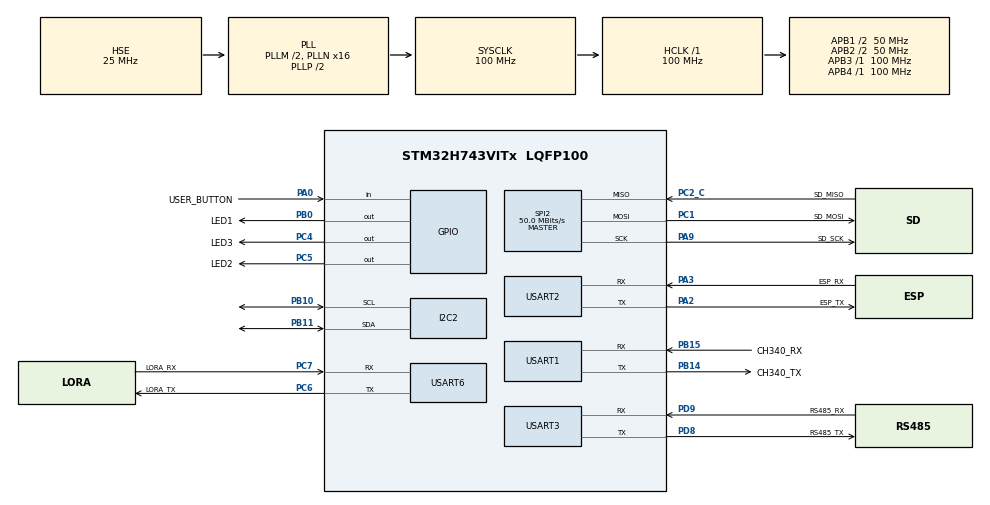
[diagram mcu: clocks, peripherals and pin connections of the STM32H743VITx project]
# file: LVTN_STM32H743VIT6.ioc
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I2C2.Timing=0x00C0EAFF
Mcu.Family=STM32H7
Mcu.Name=STM32H743VITx
Mcu.Package=LQFP100
NVIC.I2C2_EV_IRQn=true\:0\:0\:false\:false\:true\:true\:true\:true
NVIC.PriorityGroup=NVIC_PRIORITYGROUP_4
PA0.GPIO_Label=USER_BUTTON
PA0.Signal=GPIO_Input
PA13\ (JTMS/SWDIO).Mode=Serial_Wire
PA13\ (JTMS/SWDIO).Signal=DEBUG_JTMS-SWDIO
PA14\ (JTCK/SWCLK).Mode=Serial_Wire
PA14\ (JTCK/SWCLK).Signal=DEBUG_JTCK-SWCLK
PA2.GPIO_Label=ESP_TX
PA2.Mode=Asynchronous
PA2.Signal=USART2_TX
PA3.GPIO_Label=ESP_RX
PA3.Mode=Asynchronous
PA3.Signal=USART2_RX
PA9.GPIO_Label=SD_SCK
PA9.Mode=Full_Duplex_Master
PA9.Signal=SPI2_SCK
PB0.GPIO_Label=LED1
PB0.Signal=GPIO_Output
PB10.Mode=I2C
PB10.Signal=I2C2_SCL
PB11.Mode=I2C
PB11.Signal=I2C2_SDA
PB14.GPIO_Label=CH340_TX
PB14.Mode=Asynchronous
PB14.Signal=USART1_TX
PB15.GPIO_Label=CH340_RX
PB15.Mode=Asynchronous
PB15.Signal=USART1_RX
PC1.GPIO_Label=SD_MOSI
PC1.Mode=Full_Duplex_Master
PC1.Signal=SPI2_MOSI
PC14-OSC32_IN\ (OSC32_IN).Mode=LSE-External-Oscillator
PC14-OSC32_IN\ (OSC32_IN).Signal=RCC_OSC32_IN
PC15-OSC32_OUT\ (OSC32_OUT).Mode=LSE-External-Oscillator
PC15-OSC32_OUT\ (OSC32_OUT).Signal=RCC_OSC32_OUT
PC2_C.GPIO_Label=SD_MISO
PC2_C.Mode=Full_Duplex_Master
PC2_C.Signal=SPI2_MISO
PC4.GPIO_Label=LED3
PC4.Signal=GPIO_Output
PC5.GPIO_Label=LED2
PC5.Signal=GPIO_Output
PC6.GPIO_Label=LORA_TX
PC6.Mode=Asynchronous
PC6.Signal=USART6_TX
PC7.GPIO_Label=LORA_RX
PC7.Mode=Asynchronous
PC7.Signal=USART6_RX
PD8.GPIO_Label=RS485_TX
PD8.Mode=Asynchronous
PD8.Signal=USART3_TX
PD9.GPIO_Label=RS485_RX
PD9.Mode=Asynchronous
PD9.Signal=USART3_RX
PH0-OSC_IN\ (PH0).Mode=HSE-External-Oscillator
PH0-OSC_IN\ (PH0).Signal=RCC_OSC_IN
PH1-OSC_OUT\ (PH1).Mode=HSE-External-Oscillator
PH1-OSC_OUT\ (PH1).Signal=RCC_OSC_OUT
ProjectManager.HeapSize=0x200
ProjectManager.StackSize=0x400
ProjectManager.TargetToolchain=MDK-ARM V5.32
RCC.ADCFreq_Value=50390625
RCC.APB1Freq_Value=50000000
RCC.APB2Freq_Value=50000000
RCC.APB3Freq_Value=100000000
RCC.APB4Freq_Value=100000000
RCC.CortexFreq_Value=100000000
RCC.D2PPRE1=RCC_APB1_DIV2
RCC.D2PPRE2=RCC_APB2_DIV2
RCC.DIVM1=2
RCC.DIVN1=16
RCC.HCLKFreq_Value=100000000
RCC.PLLFRACN=0
RCC.PLLSourceVirtual=RCC_PLLSOURCE_HSE
RCC.SYSCLKFreq_VALUE=100000000
RCC.SYSCLKSource=RCC_SYSCLKSOURCE_PLLCLK
RCC.USBFreq_Value=100000000
SPI2.CalculateBaudRate=50.0 MBits/s
SPI2.Direction=SPI_DIRECTION_2LINES
SPI2.Mode=SPI_MODE_MASTER
SPI2.VirtualType=VM_MASTER
USART1.VirtualMode-Asynchronous=VM_ASYNC
USART2.VirtualMode-Asynchronous=VM_ASYNC
USART3.VirtualMode-Asynchronous=VM_ASYNC
USART6.VirtualMode=VM_ASYNC
VP_CRC_VS_CRC.Mode=CRC_Activate
board=custom

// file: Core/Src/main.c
/* USER CODE BEGIN Header */
/**
  ******************************************************************************
  * @file           : main.c
  * @brief          : Main program body
  ******************************************************************************
  * @attention
  *
  * Copyright (c) 2023 STMicroelectronics.
  * All rights reserved.
  *
  * This software is licensed under terms that can be found in the LICENSE file
  * in the root directory of this software component.
  * If no LICENSE file comes with this software, it is provided AS-IS.
  *
  ******************************************************************************
  */
/* USER CODE END Header */
#include "main.h"

/* USER CODE BEGIN Includes */
#include "ina3221.h"
#include "LM75B.h"
#include "ads1115.h"

/* USER CODE END Includes */

/* USER CODE BEGIN PTD */
	typedef struct
	{
		float Ch1Cur;
		float Ch1Vol;
		float Ch2Cur;
		float Ch2Vol;
		float Ch3Cur;
		float Ch3Vol;
	}INA_DATA;
	INA_DATA INAD;
/* USER CODE END PTD */

CRC_HandleTypeDef hcrc;

I2C_HandleTypeDef hi2c2;

SPI_HandleTypeDef hspi2;

UART_HandleTypeDef huart1;
UART_HandleTypeDef huart2;
UART_HandleTypeDef huart3;
UART_HandleTypeDef huart6;

/* USER CODE BEGIN PV */
//Connect ADDR pin to GND and I2C slave adress will be 0X48 .
float voltage[4];
float temperature;
float buf = 0.3;
/* USER CODE END PV */

void SystemClock_Config(void);
static void MPU_Config(void);
static void MX_GPIO_Init(void);
static void MX_CRC_Init(void);
static void MX_I2C2_Init(void);
static void MX_SPI2_Init(void);
static void MX_USART1_UART_Init(void);
static void MX_USART2_UART_Init(void);
static void MX_USART3_UART_Init(void);
static void MX_USART6_UART_Init(void);

/* USER CODE BEGIN 0 */

void BlinkLed()
{
	for(int i=0; i<=5;i++)
		{
			HAL_GPIO_TogglePin(GPIOB, LED1_Pin);
			HAL_Delay(100);
		}
}

/* USER CODE END 0 */

int main(void)
{

  /* MPU Configuration--------------------------------------------------------*/
  MPU_Config();

  /* MCU Configuration--------------------------------------------------------*/

  /* Reset of all peripherals, Initializes the Flash interface and the Systick. */
  HAL_Init();

  /* USER CODE BEGIN Init */

		//INA3221_INIT
		INA3221_INIT(INA3221_MODE_SHUNT_BUS_SINGLE,	0.1f, 0.1f, 0.1f, 4.0f,5.0f,INA3221_1_1_MS,
													INA3221_1_1_MS,INA3221_AVERAGE_64);
		//LM75B_INIT
		LM75B_INIT();

  /* USER CODE END Init */

  /* Configure the system clock */
  SystemClock_Config();

  /* Initialize all configured peripherals */
  MX_GPIO_Init();
  MX_CRC_Init();
  MX_I2C2_Init();
  MX_SPI2_Init();
  MX_USART1_UART_Init();
  MX_USART2_UART_Init();
  MX_USART3_UART_Init();
  MX_USART6_UART_Init();
  /* USER CODE BEGIN 2 */

	//LCD wellcome
//	CLCD_I2C_SetCursor(&LCD1, 0, 1);
//	CLCD_I2C_WriteString(&LCD1,"DH Bach Khoa");
//	CLCD_I2C_SetCursor(&LCD1, 0, 2);
//	CLCD_I2C_WriteString(&LCD1,"TP HCM");

  /* USER CODE END 2 */

  /* Infinite loop */
  /* USER CODE BEGIN WHILE */
  while (1)
 {

		voltage[0] =ADS1115_RVAL(0);
		voltage[1] =ADS1115_RVAL(1);
		voltage[2] =ADS1115_RVAL(2);
		voltage[3] =ADS1115_RVAL(3)-0.37;

		INAD.Ch1Cur  =INA3221ConfGetCurrent(1)*1000;
		INAD.Ch1Vol  =INA3221ConfGetBusVoltage(1);

		INAD.Ch2Cur  =- INA3221ConfGetCurrent(2)*1000;
		INAD.Ch2Vol  =INA3221ConfGetBusVoltage(2);

		INAD.Ch3Cur  =INA3221ConfGetCurrent(3)*1000;
		INAD.Ch3Vol  =INA3221ConfGetBusVoltage(3);

		BlinkLed();

		temperature = LM75B_READ();

		BlinkLed();
		HAL_Delay(100);

    /* USER CODE END WHILE */

  }
}

void SystemClock_Config(void)
{
  RCC_OscInitTypeDef RCC_OscInitStruct = {0};
  RCC_ClkInitTypeDef RCC_ClkInitStruct = {0};

  /** Supply configuration update enable
  */
  HAL_PWREx_ConfigSupply(PWR_LDO_SUPPLY);

  /** Configure the main internal regulator output voltage
  */
  __HAL_PWR_VOLTAGESCALING_CONFIG(PWR_REGULATOR_VOLTAGE_SCALE3);

  while(!__HAL_PWR_GET_FLAG(PWR_FLAG_VOSRDY)) {}

  /** Initializes the RCC Oscillators according to the specified parameters
  * in the RCC_OscInitTypeDef structure.
  */
  RCC_OscInitStruct.OscillatorType = RCC_OSCILLATORTYPE_HSE;
  RCC_OscInitStruct.HSEState = RCC_HSE_ON;
  RCC_OscInitStruct.PLL.PLLState = RCC_PLL_ON;
  RCC_OscInitStruct.PLL.PLLSource = RCC_PLLSOURCE_HSE;
  RCC_OscInitStruct.PLL.PLLM = 2;
  RCC_OscInitStruct.PLL.PLLN = 16;
  RCC_OscInitStruct.PLL.PLLP = 2;
  RCC_OscInitStruct.PLL.PLLQ = 2;
  RCC_OscInitStruct.PLL.PLLR = 2;
  RCC_OscInitStruct.PLL.PLLRGE = RCC_PLL1VCIRANGE_3;
  RCC_OscInitStruct.PLL.PLLVCOSEL = RCC_PLL1VCOWIDE;
  RCC_OscInitStruct.PLL.PLLFRACN = 0;
  if (HAL_RCC_OscConfig(&RCC_OscInitStruct) != HAL_OK)
  {
    Error_Handler();
  }

  /** Initializes the CPU, AHB and APB buses clocks
  */
  RCC_ClkInitStruct.ClockType = RCC_CLOCKTYPE_HCLK|RCC_CLOCKTYPE_SYSCLK
                              |RCC_CLOCKTYPE_PCLK1|RCC_CLOCKTYPE_PCLK2
                              |RCC_CLOCKTYPE_D3PCLK1|RCC_CLOCKTYPE_D1PCLK1;
  RCC_ClkInitStruct.SYSCLKSource = RCC_SYSCLKSOURCE_PLLCLK;
  RCC_ClkInitStruct.SYSCLKDivider = RCC_SYSCLK_DIV1;
  RCC_ClkInitStruct.AHBCLKDivider = RCC_HCLK_DIV1;
  RCC_ClkInitStruct.APB3CLKDivider = RCC_APB3_DIV1;
  RCC_ClkInitStruct.APB1CLKDivider = RCC_APB1_DIV2;
  RCC_ClkInitStruct.APB2CLKDivider = RCC_APB2_DIV2;
  RCC_ClkInitStruct.APB4CLKDivider = RCC_APB4_DIV1;

  if (HAL_RCC_ClockConfig(&RCC_ClkInitStruct, FLASH_LATENCY_2) != HAL_OK)
  {
    Error_Handler();
  }
}

static void MX_CRC_Init(void)
{

  hcrc.Instance = CRC;
  hcrc.Init.DefaultPolynomialUse = DEFAULT_POLYNOMIAL_ENABLE;
  hcrc.Init.DefaultInitValueUse = DEFAULT_INIT_VALUE_ENABLE;
  hcrc.Init.InputDataInversionMode = CRC_INPUTDATA_INVERSION_NONE;
  hcrc.Init.OutputDataInversionMode = CRC_OUTPUTDATA_INVERSION_DISABLE;
  hcrc.InputDataFormat = CRC_INPUTDATA_FORMAT_BYTES;
  if (HAL_CRC_Init(&hcrc) != HAL_OK)
  {
    Error_Handler();
  }

}

static void MX_I2C2_Init(void)
{

  hi2c2.Instance = I2C2;
  hi2c2.Init.Timing = 0x00C0EAFF;
  hi2c2.Init.OwnAddress1 = 0;
  hi2c2.Init.AddressingMode = I2C_ADDRESSINGMODE_7BIT;
  hi2c2.Init.DualAddressMode = I2C_DUALADDRESS_DISABLE;
  hi2c2.Init.OwnAddress2 = 0;
  hi2c2.Init.OwnAddress2Masks = I2C_OA2_NOMASK;
  hi2c2.Init.GeneralCallMode = I2C_GENERALCALL_DISABLE;
  hi2c2.Init.NoStretchMode = I2C_NOSTRETCH_DISABLE;
  if (HAL_I2C_Init(&hi2c2) != HAL_OK)
  {
    Error_Handler();
  }

  /** Configure Analogue filter
  */
  if (HAL_I2CEx_ConfigAnalogFilter(&hi2c2, I2C_ANALOGFILTER_ENABLE) != HAL_OK)
  {
    Error_Handler();
  }

  /** Configure Digital filter
  */
  if (HAL_I2CEx_ConfigDigitalFilter(&hi2c2, 0) != HAL_OK)
  {
    Error_Handler();
  }

}

static void MX_SPI2_Init(void)
{

  /* SPI2 parameter configuration*/
  hspi2.Instance = SPI2;
  hspi2.Init.Mode = SPI_MODE_MASTER;
  hspi2.Init.Direction = SPI_DIRECTION_2LINES;
  hspi2.Init.DataSize = SPI_DATASIZE_4BIT;
  hspi2.Init.CLKPolarity = SPI_POLARITY_LOW;
  hspi2.Init.CLKPhase = SPI_PHASE_1EDGE;
  hspi2.Init.NSS = SPI_NSS_SOFT;
  hspi2.Init.BaudRatePrescaler = SPI_BAUDRATEPRESCALER_2;
  hspi2.Init.FirstBit = SPI_FIRSTBIT_MSB;
  hspi2.Init.TIMode = SPI_TIMODE_DISABLE;
  hspi2.Init.CRCCalculation = SPI_CRCCALCULATION_DISABLE;
  hspi2.Init.CRCPolynomial = 0x0;
  hspi2.Init.NSSPMode = SPI_NSS_PULSE_ENABLE;
  hspi2.Init.NSSPolarity = SPI_NSS_POLARITY_LOW;
  hspi2.Init.FifoThreshold = SPI_FIFO_THRESHOLD_01DATA;
  hspi2.Init.TxCRCInitializationPattern = SPI_CRC_INITIALIZATION_ALL_ZERO_PATTERN;
  hspi2.Init.RxCRCInitializationPattern = SPI_CRC_INITIALIZATION_ALL_ZERO_PATTERN;
  hspi2.Init.MasterSSIdleness = SPI_MASTER_SS_IDLENESS_00CYCLE;
  hspi2.Init.MasterInterDataIdleness = SPI_MASTER_INTERDATA_IDLENESS_00CYCLE;
  hspi2.Init.MasterReceiverAutoSusp = SPI_MASTER_RX_AUTOSUSP_DISABLE;
  hspi2.Init.MasterKeepIOState = SPI_MASTER_KEEP_IO_STATE_DISABLE;
  hspi2.Init.IOSwap = SPI_IO_SWAP_DISABLE;
  if (HAL_SPI_Init(&hspi2) != HAL_OK)
  {
    Error_Handler();
  }

}

static void MX_USART1_UART_Init(void)
{

  huart1.Instance = USART1;
  huart1.Init.BaudRate = 115200;
  huart1.Init.WordLength = UART_WORDLENGTH_8B;
  huart1.Init.StopBits = UART_STOPBITS_1;
  huart1.Init.Parity = UART_PARITY_NONE;
  huart1.Init.Mode = UART_MODE_TX_RX;
  huart1.Init.HwFlowCtl = UART_HWCONTROL_NONE;
  huart1.Init.OverSampling = UART_OVERSAMPLING_16;
  huart1.Init.OneBitSampling = UART_ONE_BIT_SAMPLE_DISABLE;
  huart1.Init.ClockPrescaler = UART_PRESCALER_DIV1;
  huart1.AdvancedInit.AdvFeatureInit = UART_ADVFEATURE_NO_INIT;
  if (HAL_UART_Init(&huart1) != HAL_OK)
  {
    Error_Handler();
  }
  if (HAL_UARTEx_SetTxFifoThreshold(&huart1, UART_TXFIFO_THRESHOLD_1_8) != HAL_OK)
  {
    Error_Handler();
  }
  if (HAL_UARTEx_SetRxFifoThreshold(&huart1, UART_RXFIFO_THRESHOLD_1_8) != HAL_OK)
  {
    Error_Handler();
  }
  if (HAL_UARTEx_DisableFifoMode(&huart1) != HAL_OK)
  {
    Error_Handler();
  }

}

static void MX_USART2_UART_Init(void)
{

  huart2.Instance = USART2;
  huart2.Init.BaudRate = 115200;
  huart2.Init.WordLength = UART_WORDLENGTH_8B;
  huart2.Init.StopBits = UART_STOPBITS_1;
  huart2.Init.Parity = UART_PARITY_NONE;
  huart2.Init.Mode = UART_MODE_TX_RX;
  huart2.Init.HwFlowCtl = UART_HWCONTROL_NONE;
  huart2.Init.OverSampling = UART_OVERSAMPLING_16;
  huart2.Init.OneBitSampling = UART_ONE_BIT_SAMPLE_DISABLE;
  huart2.Init.ClockPrescaler = UART_PRESCALER_DIV1;
  huart2.AdvancedInit.AdvFeatureInit = UART_ADVFEATURE_NO_INIT;
  if (HAL_UART_Init(&huart2) != HAL_OK)
  {
    Error_Handler();
  }
  if (HAL_UARTEx_SetTxFifoThreshold(&huart2, UART_TXFIFO_THRESHOLD_1_8) != HAL_OK)
  {
    Error_Handler();
  }
  if (HAL_UARTEx_SetRxFifoThreshold(&huart2, UART_RXFIFO_THRESHOLD_1_8) != HAL_OK)
  {
    Error_Handler();
  }
  if (HAL_UARTEx_DisableFifoMode(&huart2) != HAL_OK)
  {
    Error_Handler();
  }

}

static void MX_USART3_UART_Init(void)
{

  huart3.Instance = USART3;
  huart3.Init.BaudRate = 115200;
  huart3.Init.WordLength = UART_WORDLENGTH_8B;
  huart3.Init.StopBits = UART_STOPBITS_1;
  huart3.Init.Parity = UART_PARITY_NONE;
  huart3.Init.Mode = UART_MODE_TX_RX;
  huart3.Init.HwFlowCtl = UART_HWCONTROL_NONE;
  huart3.Init.OverSampling = UART_OVERSAMPLING_16;
  huart3.Init.OneBitSampling = UART_ONE_BIT_SAMPLE_DISABLE;
  huart3.Init.ClockPrescaler = UART_PRESCALER_DIV1;
  huart3.AdvancedInit.AdvFeatureInit = UART_ADVFEATURE_NO_INIT;
  if (HAL_UART_Init(&huart3) != HAL_OK)
  {
    Error_Handler();
  }
  if (HAL_UARTEx_SetTxFifoThreshold(&huart3, UART_TXFIFO_THRESHOLD_1_8) != HAL_OK)
  {
    Error_Handler();
  }
  if (HAL_UARTEx_SetRxFifoThreshold(&huart3, UART_RXFIFO_THRESHOLD_1_8) != HAL_OK)
  {
    Error_Handler();
  }
  if (HAL_UARTEx_DisableFifoMode(&huart3) != HAL_OK)
  {
    Error_Handler();
  }

}

static void MX_USART6_UART_Init(void)
{

  huart6.Instance = USART6;
  huart6.Init.BaudRate = 115200;
  huart6.Init.WordLength = UART_WORDLENGTH_8B;
  huart6.Init.StopBits = UART_STOPBITS_1;
  huart6.Init.Parity = UART_PARITY_NONE;
  huart6.Init.Mode = UART_MODE_TX_RX;
  huart6.Init.HwFlowCtl = UART_HWCONTROL_NONE;
  huart6.Init.OverSampling = UART_OVERSAMPLING_16;
  huart6.Init.OneBitSampling = UART_ONE_BIT_SAMPLE_DISABLE;
  huart6.Init.ClockPrescaler = UART_PRESCALER_DIV1;
  huart6.AdvancedInit.AdvFeatureInit = UART_ADVFEATURE_NO_INIT;
  if (HAL_UART_Init(&huart6) != HAL_OK)
  {
    Error_Handler();
  }
  if (HAL_UARTEx_SetTxFifoThreshold(&huart6, UART_TXFIFO_THRESHOLD_1_8) != HAL_OK)
  {
    Error_Handler();
  }
  if (HAL_UARTEx_SetRxFifoThreshold(&huart6, UART_RXFIFO_THRESHOLD_1_8) != HAL_OK)
  {
    Error_Handler();
  }
  if (HAL_UARTEx_DisableFifoMode(&huart6) != HAL_OK)
  {
    Error_Handler();
  }

}

static void MX_GPIO_Init(void)
{
  GPIO_InitTypeDef GPIO_InitStruct = {0};

  /* GPIO Ports Clock Enable */
  __HAL_RCC_GPIOC_CLK_ENABLE();
  __HAL_RCC_GPIOH_CLK_ENABLE();
  __HAL_RCC_GPIOA_CLK_ENABLE();
  __HAL_RCC_GPIOB_CLK_ENABLE();
  __HAL_RCC_GPIOD_CLK_ENABLE();

  /*Configure GPIO pin Output Level */
  HAL_GPIO_WritePin(GPIOC, LED3_Pin|LED2_Pin, GPIO_PIN_RESET);

  /*Configure GPIO pin Output Level */
  HAL_GPIO_WritePin(LED1_GPIO_Port, LED1_Pin, GPIO_PIN_RESET);

  /*Configure GPIO pin : USER_BUTTON_Pin */
  GPIO_InitStruct.Pin = USER_BUTTON_Pin;
  GPIO_InitStruct.Mode = GPIO_MODE_INPUT;
  GPIO_InitStruct.Pull = GPIO_NOPULL;
  HAL_GPIO_Init(USER_BUTTON_GPIO_Port, &GPIO_InitStruct);

  /*Configure GPIO pins : LED3_Pin LED2_Pin */
  GPIO_InitStruct.Pin = LED3_Pin|LED2_Pin;
  GPIO_InitStruct.Mode = GPIO_MODE_OUTPUT_PP;
  GPIO_InitStruct.Pull = GPIO_NOPULL;
  GPIO_InitStruct.Speed = GPIO_SPEED_FREQ_LOW;
  HAL_GPIO_Init(GPIOC, &GPIO_InitStruct);

  /*Configure GPIO pin : LED1_Pin */
  GPIO_InitStruct.Pin = LED1_Pin;
  GPIO_InitStruct.Mode = GPIO_MODE_OUTPUT_PP;
  GPIO_InitStruct.Pull = GPIO_NOPULL;
  GPIO_InitStruct.Speed = GPIO_SPEED_FREQ_LOW;
  HAL_GPIO_Init(LED1_GPIO_Port, &GPIO_InitStruct);

}

/* MPU Configuration */

void MPU_Config(void)
{
  MPU_Region_InitTypeDef MPU_InitStruct = {0};

  /* Disables the MPU */
  HAL_MPU_Disable();

  /** Initializes and configures the Region and the memory to be protected
  */
  MPU_InitStruct.Enable = MPU_REGION_ENABLE;
  MPU_InitStruct.Number = MPU_REGION_NUMBER0;
  MPU_InitStruct.BaseAddress = 0x0;
  MPU_InitStruct.Size = MPU_REGION_SIZE_4GB;
  MPU_InitStruct.SubRegionDisable = 0x87;
  MPU_InitStruct.TypeExtField = MPU_TEX_LEVEL0;
  MPU_InitStruct.AccessPermission = MPU_REGION_NO_ACCESS;
  MPU_InitStruct.DisableExec = MPU_INSTRUCTION_ACCESS_DISABLE;
  MPU_InitStruct.IsShareable = MPU_ACCESS_SHAREABLE;
  MPU_InitStruct.IsCacheable = MPU_ACCESS_NOT_CACHEABLE;
  MPU_InitStruct.IsBufferable = MPU_ACCESS_NOT_BUFFERABLE;

  HAL_MPU_ConfigRegion(&MPU_InitStruct);
  /* Enables the MPU */
  HAL_MPU_Enable(MPU_PRIVILEGED_DEFAULT);

}

void Error_Handler(void)
{
  __disable_irq();
  while (1)
  {
  }
}
